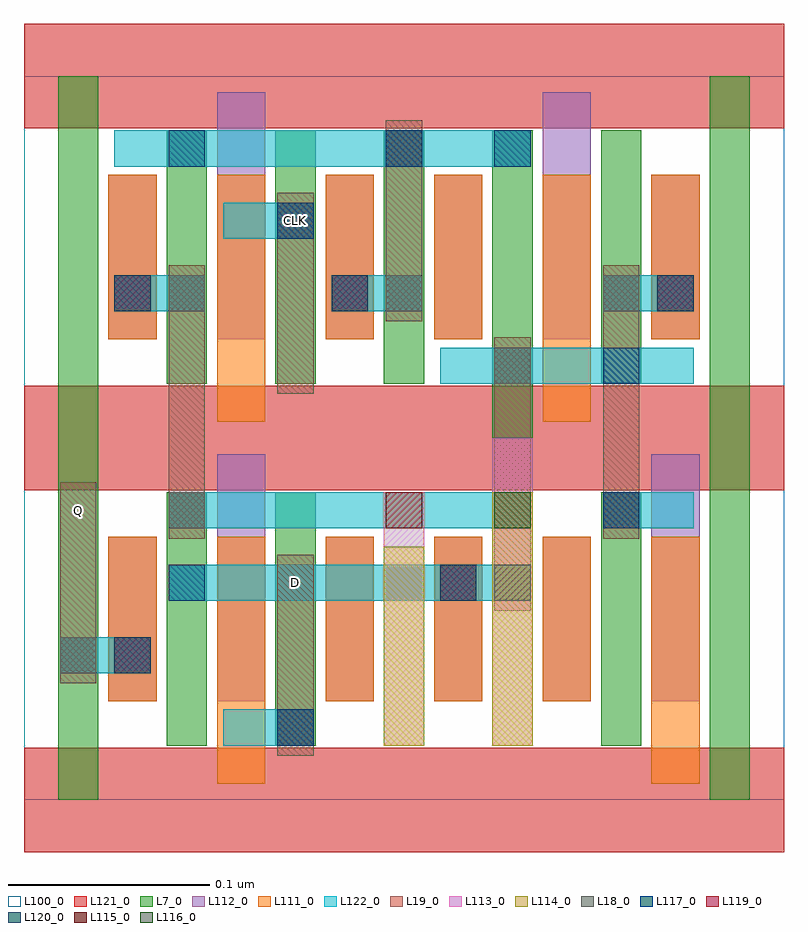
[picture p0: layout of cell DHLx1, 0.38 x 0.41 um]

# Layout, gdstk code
import gdstk
lib = gdstk.Library(unit=1e-6, precision=2.5e-10)
def R(c, l, rs):  # rectangles x0, y0, x1, y1
    for r in rs: c.add(gdstk.rectangle(r[:2], r[2:], *l))
def A(c, l, x, y, w, h, nx, ny, dx, dy):  # array of equal rectangles
    R(c, l, [(x+i*dx, y+j*dy, x+i*dx+w, y+j*dy+h) for i in range(nx) for j in range(ny)])
L7_0 = (7, 0)
L18_0 = (18, 0)
L19_0 = (19, 0)
L100_0 = (100, 0)
L111_0 = (111, 0)
L112_0 = (112, 0)
L113_0 = (113, 0)
L114_0 = (114, 0)
L115_0 = (115, 0)
L116_0 = (116, 0)
L117_0 = (117, 0)
L119_0 = (119, 0)
L120_0 = (120, 0)
L121_0 = (121, 0)
L122_0 = (122, 0)

dhlx1 = lib.new_cell('DHLx1')
A(dhlx1, L7_0, 0.071, 0.207, 0.02, 0.126, 3, 1, 0.054, 0)
R(dhlx1, L7_0, [(0.017,0,0.037,0.18), (0.341,0,0.361,0.18), (0.071,0.027,0.091,0.153), (0.125,0.027,0.145,0.153), (0.287,0.027,0.307,0.153), (0.017,0.18,0.037,0.36), (0.233,0.18,0.253,0.333), (0.341,0.18,0.361,0.36), (0.287,0.207,0.307,0.333)])
A(dhlx1, L18_0, 0.072, 0.243, 0.018, 0.018, 3, 1, 0.108, 0)
R(dhlx1, L18_0, [(0.126,0.027,0.144,0.045), (0.018,0.063,0.036,0.081), (0.234,0.099,0.252,0.117), (0.072,0.135,0.09,0.153), (0.288,0.135,0.306,0.153), (0.234,0.207,0.252,0.225), (0.126,0.279,0.144,0.297), (0.18,0.315,0.198,0.333)])
R(dhlx1, L19_0, [(0.126,0.022,0.144,0.122), (0.018,0.058,0.036,0.158), (0.234,0.094,0.252,0.23), (0.072,0.13,0.09,0.266), (0.288,0.13,0.306,0.266), (0.126,0.202,0.144,0.302), (0.18,0.238,0.198,0.338)])
R(dhlx1, L100_0, [(0,0,0.378,0.36)])
A(dhlx1, L111_0, 0.15, 0.049, 0.024, 0.082, 3, 1, 0.054, 0)
R(dhlx1, L111_0, [(0.096,0.008,0.12,0.131), (0.312,0.008,0.336,0.131), (0.042,0.049,0.066,0.131), (0.096,0.188,0.12,0.311), (0.258,0.188,0.282,0.311), (0.042,0.229,0.066,0.311), (0.15,0.229,0.174,0.311), (0.204,0.229,0.228,0.311), (0.312,0.229,0.336,0.311)])
A(dhlx1, L112_0, 0.15, 0.049, 0.024, 0.082, 3, 1, 0.054, 0)
R(dhlx1, L112_0, [(0.042,0.049,0.066,0.131), (0.096,0.049,0.12,0.172), (0.312,0.049,0.336,0.172), (0.042,0.229,0.066,0.311), (0.096,0.229,0.12,0.352), (0.15,0.229,0.174,0.311), (0.204,0.229,0.228,0.311), (0.258,0.229,0.282,0.352), (0.312,0.229,0.336,0.311)])
R(dhlx1, L113_0, [(0.179,0.027,0.199,0.153), (0.233,0.027,0.253,0.18)])
R(dhlx1, L114_0, [(0.179,0.027,0.199,0.126), (0.233,0.027,0.253,0.153)])
R(dhlx1, L115_0, [(0.18,0.135,0.198,0.153)])
R(dhlx1, L116_0, [(0.234,0.135,0.252,0.153)])
R(dhlx1, L117_0, [(0.126,0.027,0.144,0.045), (0.072,0.099,0.09,0.117), (0.288,0.135,0.306,0.153), (0.288,0.207,0.306,0.225), (0.126,0.279,0.144,0.297), (0.072,0.315,0.09,0.333), (0.18,0.315,0.198,0.333), (0.234,0.315,0.252,0.333)])
R(dhlx1, L119_0, [(0.045,0.063,0.063,0.081), (0.207,0.099,0.225,0.117), (0.045,0.243,0.063,0.261), (0.153,0.243,0.171,0.261), (0.315,0.243,0.333,0.261)])
R(dhlx1, L120_0, [(0.045,0.063,0.063,0.081), (0.207,0.099,0.225,0.117), (0.045,0.243,0.063,0.261), (0.153,0.243,0.171,0.261), (0.315,0.243,0.333,0.261)])
A(dhlx1, L121_0, 0, -0.026, 0.378, 0.052, 1, 3, 0, 0.18)
R(dhlx1, L122_0, [(0.099,0.027,0.144,0.045), (0.018,0.063,0.063,0.081), (0.072,0.099,0.252,0.117), (0.072,0.135,0.252,0.153), (0.288,0.135,0.333,0.153), (0.207,0.207,0.333,0.225), (0.045,0.243,0.09,0.261), (0.153,0.243,0.198,0.261), (0.288,0.243,0.333,0.261), (0.099,0.279,0.144,0.297), (0.045,0.315,0.252,0.333)])
dhlx1.add(gdstk.Label('Q', (0.027,0.144), layer=19, texttype=251))
dhlx1.add(gdstk.Label('D', (0.135,0.108), layer=19, texttype=251))
dhlx1.add(gdstk.Label('CLK', (0.135,0.288), layer=19, texttype=251))

lib.write_gds('DHLx1.gds')
